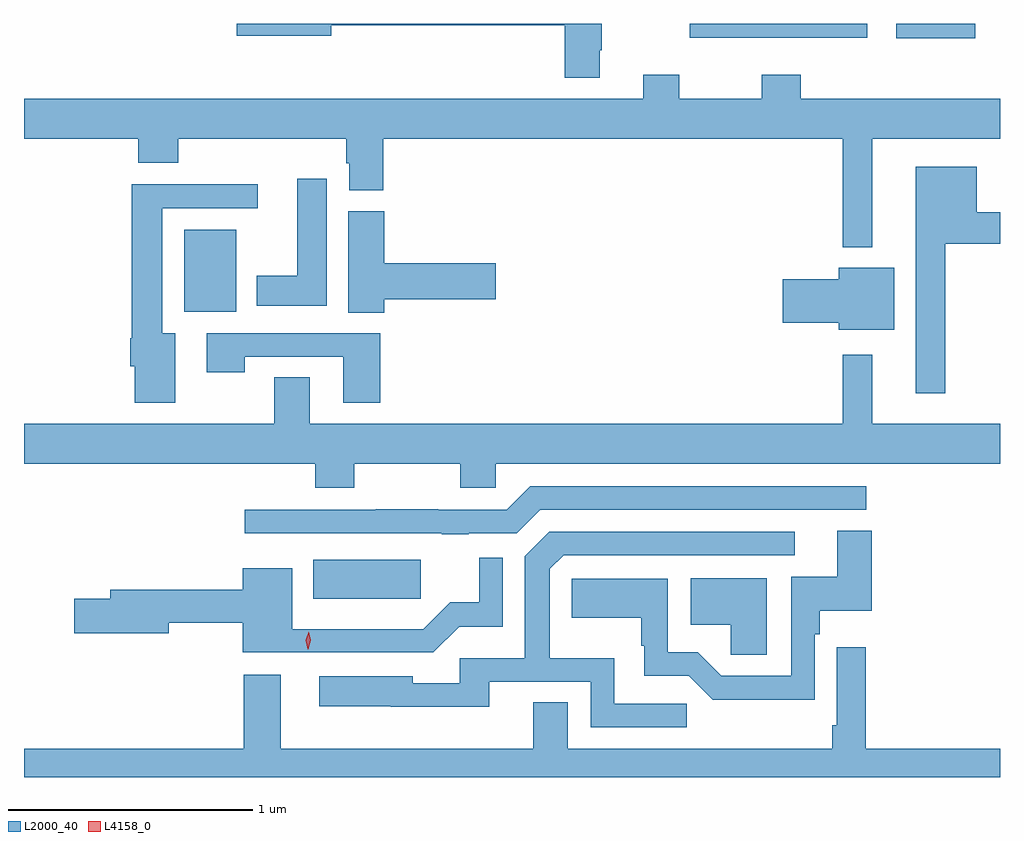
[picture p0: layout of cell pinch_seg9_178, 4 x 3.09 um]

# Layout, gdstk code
import gdstk
lib = gdstk.Library(unit=1e-6, precision=1e-09)
def R(c, l, rs):  # rectangles x0, y0, x1, y1
    for r in rs: c.add(gdstk.rectangle(r[:2], r[2:], *l))
def P(c, l, *ps):  # polygons
    for p in ps: c.add(gdstk.Polygon(p, *l))
L2000_40 = (2000, 40)
L4158_0 = (4158, 0)

pinch_seg9_178 = lib.new_cell('pinch_seg9_178')
R(pinch_seg9_178, L2000_40, [(791.024,1165.232,791.464,1165.39), (790.496,1166.408,790.708,1166.743), (793.413,1167.529,793.738,1167.587), (792.567,1167.53,793.294,1167.587)])
P(pinch_seg9_178, L2000_40, [(792.199,1167.478),(792.207,1167.478),(792.207,1167.587),(790.71,1167.587),(790.71,1167.539),(791.098,1167.539),(791.098,1167.582),(792.056,1167.582),(792.056,1167.366),(792.199,1167.366)],
  [(793.315,1167.116),(793.839,1167.116),(793.839,1167.28),(793.022,1167.28),(793.022,1167.379),(792.862,1167.379),(792.862,1167.28),(792.525,1167.28),(792.525,1167.379),(792.377,1167.379),(792.377,1167.28),(789.839,1167.28),(789.839,1167.116),(790.307,1167.116),(790.307,1167.017),(790.472,1167.017),(790.472,1167.116),(791.159,1167.116),(791.159,1167.015),(791.171,1167.015),(791.171,1166.905),(791.312,1166.905),(791.312,1167.116),(793.194,1167.116),(793.194,1166.672),(793.315,1166.672)],
  [(793.615,1166.686),(793.839,1166.686),(793.839,1166.815),(793.744,1166.815),(793.744,1167.001),(793.493,1167.001),(793.493,1166.073),(793.615,1166.073)],
  [(791.08,1166.953),(790.958,1166.953),(790.958,1166.554),(790.793,1166.554),(790.793,1166.432),(791.08,1166.432)],
  [(790.459,1166.32),(790.405,1166.32),(790.405,1166.832),(790.798,1166.832),(790.798,1166.93),(790.28,1166.93),(790.28,1166.298),(790.274,1166.298),(790.274,1166.184),(790.292,1166.184),(790.292,1166.034),(790.459,1166.034)],
  [(791.315,1166.459),(791.773,1166.459),(791.773,1166.606),(791.315,1166.606),(791.315,1166.82),(791.168,1166.82),(791.168,1166.404),(791.315,1166.404)],
  [(793.405,1166.587),(793.178,1166.587),(793.178,1166.54),(792.948,1166.54),(792.948,1166.362),(793.178,1166.362),(793.178,1166.333),(793.405,1166.333)],
  [(791.3,1166.319),(790.587,1166.319),(790.587,1166.16),(790.743,1166.16),(790.743,1166.223),(791.147,1166.223),(791.147,1166.034),(791.3,1166.034)],
  [(791.193,1165.784),(791.626,1165.784),(791.626,1165.686),(791.772,1165.686),(791.772,1165.784),(793.839,1165.784),(793.839,1165.948),(793.315,1165.948),(793.315,1166.23),(793.194,1166.23),(793.194,1165.948),(791.011,1165.948),(791.011,1166.138),(790.864,1166.138),(790.864,1165.948),(789.839,1165.948),(789.839,1165.784),(791.033,1165.784),(791.033,1165.685),(791.193,1165.685)],
  [(791.662,1165.5),(791.859,1165.5),(791.955,1165.596),(793.291,1165.596),(793.291,1165.692),(791.913,1165.692),(791.817,1165.596),(791.537,1165.596),(791.537,1165.598),(791.281,1165.598),(791.281,1165.596),(790.743,1165.596),(790.743,1165.5),(791.551,1165.5),(791.551,1165.495),(791.662,1165.495)],
  [(793.08,1165.085),(793.1,1165.085),(793.1,1165.181),(793.313,1165.181),(793.313,1165.51),(793.172,1165.51),(793.172,1165.321),(792.984,1165.321),(792.984,1164.915),(792.696,1164.915),(792.6,1165.011),(792.477,1165.011),(792.477,1165.312),(792.084,1165.312),(792.084,1165.154),(792.369,1165.154),(792.369,1165.038),(792.381,1165.038),(792.381,1164.915),(792.564,1164.915),(792.662,1164.818),(793.08,1164.818)],
  [(792.556,1164.8),(792.258,1164.8),(792.258,1164.988),(791.994,1164.988),(791.994,1165.353),(792.051,1165.41),(792.997,1165.41),(792.997,1165.506),(791.991,1165.506),(791.891,1165.406),(791.891,1164.987),(791.625,1164.987),(791.625,1164.885),(791.433,1164.885),(791.433,1164.913),(791.049,1164.913),(791.049,1164.791),(791.343,1164.791),(791.343,1164.788),(791.746,1164.788),(791.746,1164.891),(792.162,1164.891),(792.162,1164.705),(792.556,1164.705)],
  [(791.622,1165.116),(791.802,1165.116),(791.802,1165.399),(791.704,1165.399),(791.704,1165.217),(791.585,1165.217),(791.475,1165.107),(790.939,1165.107),(790.939,1165.357),(790.736,1165.357),(790.736,1165.268),(790.193,1165.268),(790.193,1165.232),(790.044,1165.232),(790.044,1165.09),(790.432,1165.09),(790.432,1165.132),(790.736,1165.132),(790.736,1165.011),(791.517,1165.011)],
  [(792.883,1165.315),(792.572,1165.315),(792.572,1165.124),(792.736,1165.124),(792.736,1165.002),(792.883,1165.002)],
  [(793.839,1164.616),(793.288,1164.616),(793.288,1165.033),(793.169,1165.033),(793.169,1164.712),(793.152,1164.712),(793.152,1164.616),(792.067,1164.616),(792.067,1164.806),(791.927,1164.806),(791.927,1164.616),(790.891,1164.616),(790.891,1164.919),(790.739,1164.919),(790.739,1164.616),(789.839,1164.616),(789.839,1164.5),(793.839,1164.5)])
P(pinch_seg9_178, L4158_0, [(791.003,1165.024),(791.002,1165.025),(790.994,1165.061),(791.006,1165.096),(791.006,1165.096),(791.006,1165.096),(791.014,1165.06),(791.003,1165.025)])

lib.write_gds('pinch_seg9_178.gds')
